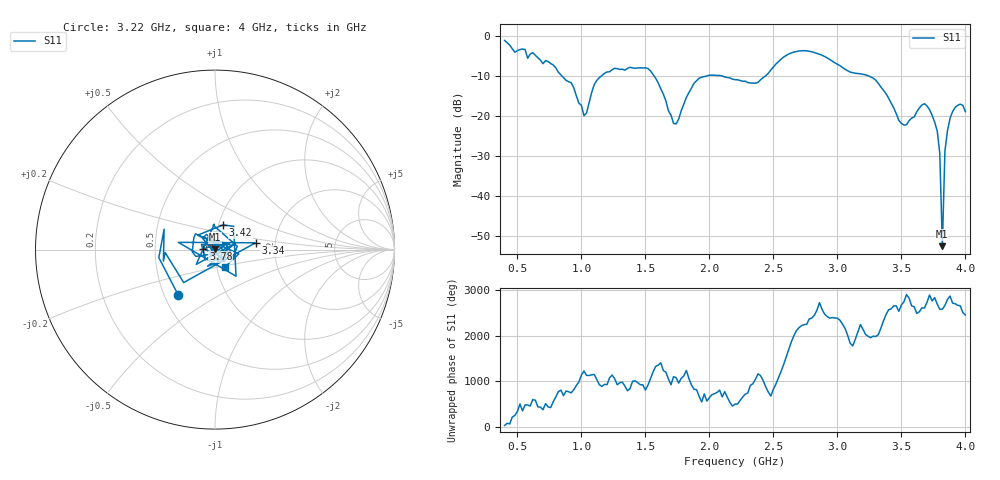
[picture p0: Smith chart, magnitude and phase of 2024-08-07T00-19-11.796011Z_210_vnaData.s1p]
!Created with skrf (http://scikit-rf.org).
# Hz S RI R 50.0
!freq ReS11 ImS11
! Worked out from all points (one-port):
!   181 points, 400 MHz to 4 GHz, reference 50 ohm
!   lowest |S11| = -52.5 dB at 3.82 GHz (marker M1), VSWR 1.00, Z = 50.1 + j0.215 ohm
!   |S11| at or under -10 dB: 1.566 GHz to 1.986 GHz (420.2 MHz wide, 23.7 % of centre); 2.091 GHz to 2.44 GHz (349 MHz wide, 15.4 % of centre); 3.24 GHz to end of sweep (the widest 3 of 4)
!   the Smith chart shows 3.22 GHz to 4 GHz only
!   S11 on the Smith chart (normalised r, x): 3.22 GHz: 0.59, -0.33; 3.34 GHz: 1.58, +0.13; 3.42 GHz: 1.05, +0.29; 3.78 GHz: 0.88, +0.01; 4 GHz: 1.09, -0.22
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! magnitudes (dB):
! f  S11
! 400 MHz  -1.2
! 860 MHz  -10.5
! 920 MHz  -11.7
! 1.02 GHz  -20.0
! 1.12 GHz  -11.2
! 1.3 GHz  -8.4
! 1.52 GHz  -8.2
! 1.6 GHz  -11.8
! 1.72 GHz  -21.9
! 1.76 GHz  -20.8
! 1.92 GHz  -10.6
! 2.2 GHz  -11.0
! 2.38 GHz  -11.7
! 2.66 GHz  -4.1
! 3.1 GHz  -9.1
! 3.22 GHz  -9.8
! 3.34 GHz  -12.8
! 3.42 GHz  -16.8
! 3.5 GHz  -21.9
! 3.56 GHz  -21.2
! 3.68 GHz  -17.0
! 3.78 GHz  -23.8
! 3.8 GHz  -29.4
! 3.82 GHz  -52.5
! 3.84 GHz  -28.8
! 3.86 GHz  -23.7
! 3.92 GHz  -17.9
! 4 GHz  -19.0
